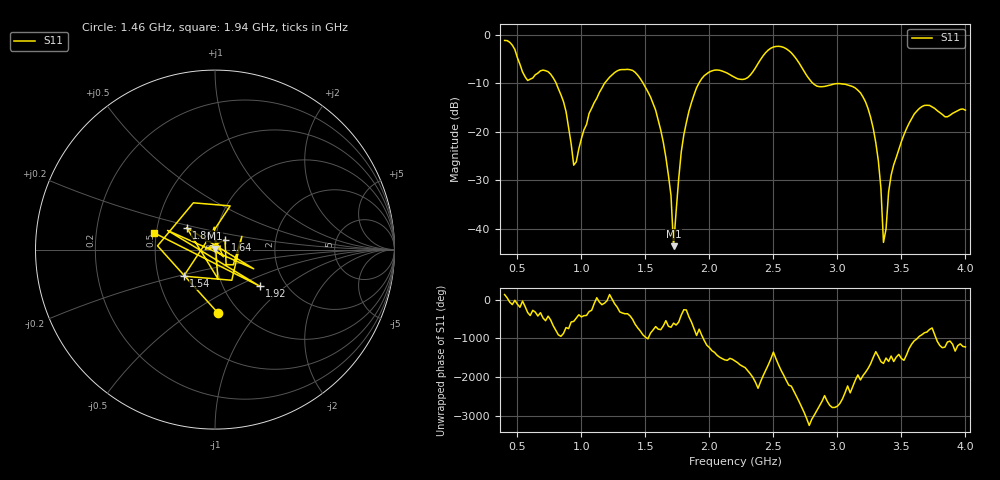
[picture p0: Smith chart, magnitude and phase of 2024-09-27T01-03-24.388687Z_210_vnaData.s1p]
!Created with skrf (http://scikit-rf.org).
# Hz S RI R 50.0
!freq ReS11 ImS11
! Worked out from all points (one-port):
!   181 points, 400 MHz to 4 GHz, reference 50 ohm
!   lowest |S11| = -43.6 dB at 1.72 GHz (marker M1), VSWR 1.01, Z = 49.7 + j0.603 ohm
!   |S11| at or under -10 dB: 802.9 MHz to 1.181 GHz (377.7 MHz wide, 38.1 % of centre); 1.483 GHz to 1.918 GHz (435.2 MHz wide, 25.6 % of centre); 2.809 GHz to end of sweep
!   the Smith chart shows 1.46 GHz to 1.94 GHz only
!   S11 on the Smith chart (normalised r, x): 1.46 GHz: 0.80, -0.65; 1.54 GHz: 0.68, -0.21; 1.64 GHz: 1.11, +0.12; 1.86 GHz: 0.71, +0.18; 1.92 GHz: 1.48, -0.67; 1.94 GHz: 0.48, +0.10
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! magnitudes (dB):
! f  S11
! 400 MHz  -1.2
! 580 MHz  -9.4
! 740 MHz  -7.6
! 860 MHz  -13.8
! 940 MHz  -26.9
! 1.1 GHz  -14.0
! 1.3 GHz  -7.2
! 1.46 GHz  -9.0
! 1.54 GHz  -12.8
! 1.64 GHz  -22.2
! 1.7 GHz  -33.1
! 1.72 GHz  -43.6
! 1.76 GHz  -29.7
! 1.86 GHz  -14.0
! 1.92 GHz  -9.9
! 1.94 GHz  -9.0
! 2.2 GHz  -8.8
! 2.5 GHz  -2.5
! 2.66 GHz  -4.3
! 2.84 GHz  -10.6
! 3.1 GHz  -10.5
! 3.28 GHz  -19.3
! 3.34 GHz  -31.6
! 3.36 GHz  -42.8
! 3.42 GHz  -28.9
! 3.56 GHz  -18.2
! 3.68 GHz  -14.6
! 4 GHz  -15.5
